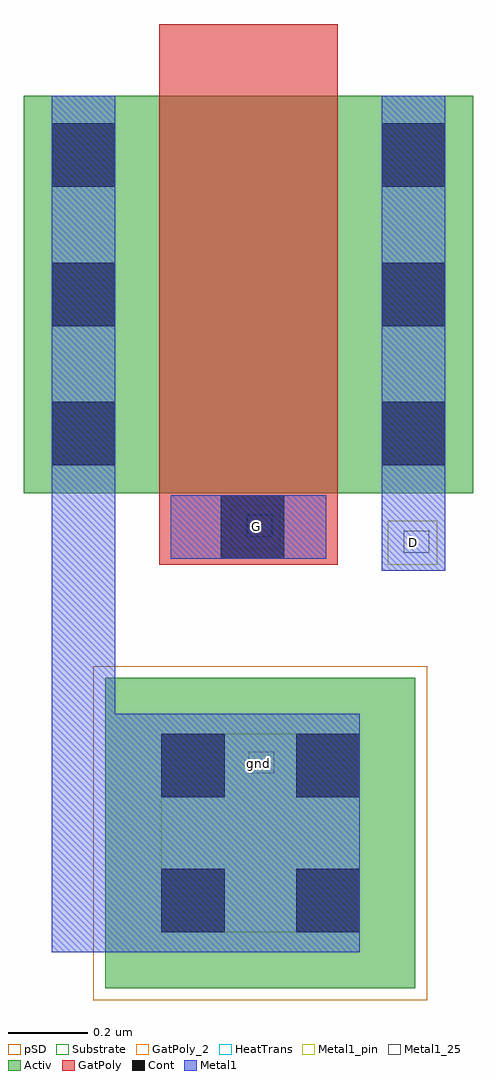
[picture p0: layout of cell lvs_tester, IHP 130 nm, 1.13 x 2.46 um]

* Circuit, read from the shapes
.subckt lvs_tester D G gnd
XM1 D G gnd gnd sg13_lv_nmos w=1u l=0.45u
.ends

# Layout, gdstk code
import gdstk
lib = gdstk.Library(unit=1e-6, precision=1e-09)
def R(c, l, rs):  # rectangles x0, y0, x1, y1
    for r in rs: c.add(gdstk.rectangle(r[:2], r[2:], *l))
def A(c, l, x, y, w, h, nx, ny, dx, dy):  # array of equal rectangles
    R(c, l, [(x+i*dx, y+j*dy, x+i*dx+w, y+j*dy+h) for i in range(nx) for j in range(ny)])
Activ = (1, 0)
GatPoly = (5, 0)
GatPoly_2 = (5, 2)
Cont = (6, 0)
Metal1 = (8, 0)
Metal1_pin = (8, 2)
Metal1_25 = (8, 25)
pSD = (14, 0)
Substrate = (40, 0)
HeatTrans = (51, 0)

ptap1 = lib.new_cell('ptap1')
R(ptap1, Activ, [(0,0,0.78,0.78)])
R(ptap1, Cont, [(0.14,0.14,0.3,0.3), (0.48,0.14,0.64,0.3), (0.14,0.48,0.3,0.64), (0.48,0.48,0.64,0.64)])
R(ptap1, Metal1, [(0.14,0.09,0.64,0.69), (0.14,0.14,0.64,0.64)])
R(ptap1, Metal1_pin, [(0.14,0.14,0.64,0.64)])
R(ptap1, pSD, [(-0.03,-0.03,0.81,0.81)])
R(ptap1, Substrate, [(0,0,0.78,0.78)])
ptap1.add(gdstk.Label('sub!', (0.39,0.01), layer=63, texttype=0))
ptap1.add(gdstk.Label('sub!', (0.39,0.01), layer=40, texttype=0))

nmos_1 = lib.new_cell('nmos$1')
R(nmos_1, Activ, [(0,0,0.3,0.3), (0,0,1.13,1), (0.83,0,1.13,0.3)])
R(nmos_1, GatPoly, [(0.34,-0.18,0.79,1.18)])
R(nmos_1, GatPoly_2, [(0.34,-0.18,0.79,1.18)])
A(nmos_1, Cont, 0.07, 0.07, 0.16, 0.16, 1, 3, 0, 0.35)
A(nmos_1, Cont, 0.9, 0.07, 0.16, 0.16, 1, 3, 0, 0.35)
R(nmos_1, Metal1, [(0.07,0,0.23,1), (0.9,0,1.06,1)])
R(nmos_1, Metal1_pin, [(0.07,0,0.23,1), (0.9,0,1.06,1)])
R(nmos_1, HeatTrans, [(0.34,-0.18,0.79,1.18)])
nmos_1.add(gdstk.Label('nmos', (0.565,0.5), layer=63, texttype=0))
nmos_1.add(gdstk.Label('nmos', (0.565,0.5), layer=51, texttype=0))

lvs_tester = lib.new_cell('lvs_tester')
R(lvs_tester, Cont, [(3.055,-0.065,3.215,0.095)])
R(lvs_tester, Metal1, [(2.63,-1.055,2.79,0.1), (2.79,-1.055,2.905,-0.455), (3.46,-0.095,3.62,0.1), (2.93,-0.065,3.32,0.095)])
R(lvs_tester, Metal1_pin, [(3.085,-0.635,3.21,-0.525), (3.475,-0.08,3.6,0.03), (3.08,-0.04,3.205,0.07)])
R(lvs_tester, Metal1_25, [(3.125,-0.605,3.19,-0.55), (3.515,-0.05,3.58,0.005), (3.12,-0.01,3.185,0.045)])
lvs_tester.add(gdstk.Reference(ptap1, (2.765,-1.145)))
lvs_tester.add(gdstk.Reference(nmos_1, (2.56,0.1)))
lvs_tester.add(gdstk.Label('G', (3.145,0.015), layer=8, texttype=25))
lvs_tester.add(gdstk.Label('gnd', (3.15,-0.58), layer=8, texttype=25))
lvs_tester.add(gdstk.Label('D', (3.54,-0.025), layer=8, texttype=25))

lib.write_gds('lvs_tester.gds')
